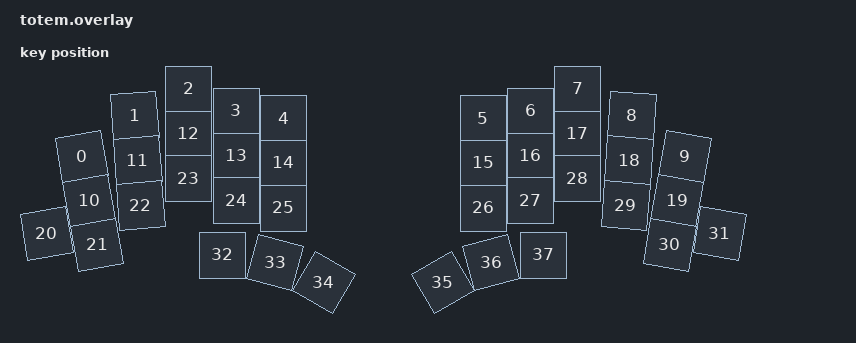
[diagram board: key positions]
/*
 * config/totem.overlay
 *
 * Shared (unsuffixed) user overlay -> ZMK applies this automatically to
 * ALL THREE shield builds (totem_dongle, totem_left, totem_right), exactly
 * like the shared config/totem.keymap already does.
 *
 * WHY THIS FILE EXISTS
 * ---------------------
 * The "totem" shield comes from the ghyatzo/zmk-totem-module (see
 * config/west.yml). That module's totem.dtsi already defines a physical
 * layout with Studio-required `keys` (x/y/rotation) attributes, so
 * ZMK Studio was NOT missing key positions -- it already had *some*.
 *
 * What it had, though, was ghyatzo's own key geometry. You asked for the
 * geometry from cvaldezcomputerer/zmk-config's totem-layouts.dtsi instead.
 * This file adds a SECOND physical layout using that geometry, and makes
 * it the default -- without touching the module's kscan, matrix transform,
 * or your keymap bindings, all of which stay exactly as they are.
 *
 * IMPORTANT DETAIL: cvaldez's totem-layouts.dtsi lists its 38 keys in a
 * different order than ghyatzo's totem.dtsi matrix transform does (the two
 * "extra" pinky keys -- matrix positions RC(3,0) and RC(3,9) -- sit in
 * different spots in the two files' own orderings). The `keys` array below
 * is NOT a copy-paste of cvaldez's file: each entry has been re-ordered by
 * matrix position (RC(row,col)) so it lines up 1:1 with *this* build's
 * transform/keymap. Copying cvaldez's array as-is would have silently
 * shown the thumb keys and the two outer pinky keys in the wrong spots in
 * Studio's picture of the board.
 *
 * The module's original "default_layout" is untouched and still compiles
 * in as a second, selectable layout in Studio's physical layout picker --
 * it's simply no longer the default. There's no position map between the
 * two (their key widths differ slightly, 100 vs 105), so if you ever
 * switch to it inside Studio, a few key assignments may not carry over
 * automatically. You shouldn't need to; this file makes the cvaldez
 * geometry the one that's active out of the box.
 */

#include <physical_layouts.dtsi>

/ {
    cvaldez_layout: cvaldez_layout {
        compatible = "zmk,physical-layout";
        display-name = "TOTEM";
        transform = <&default_transform>; // unchanged, defined in the ghyatzo module's totem.dtsi
        kscan     = <&kscan0>;             // unchanged, defined in the ghyatzo module's totem.dtsi

        keys  //                     w   h    x    y     rot    rx    ry
            = <&key_physical_attrs 100 100    70   136 (-1000)   120   186>
            , <&key_physical_attrs 100 100   176    54 (-400)   226   104>
            , <&key_physical_attrs 100 100   284     0      0     0     0>
            , <&key_physical_attrs 100 100   379    44      0     0     0>
            , <&key_physical_attrs 100 100   474    59      0     0     0>
            , <&key_physical_attrs 100 100   873    59      0     0     0>
            , <&key_physical_attrs 100 100   968    44      0     0     0>
            , <&key_physical_attrs 100 100  1062     0      0     0     0>
            , <&key_physical_attrs 100 100  1171    54    400  1221   104>
            , <&key_physical_attrs 100 100  1277   136   1000  1327   186>
            , <&key_physical_attrs 100 100    85   224 (-1000)   135   274>
            , <&key_physical_attrs 100 100   182   143 (-400)   232   193>
            , <&key_physical_attrs 100 100   284    90      0     0     0>
            , <&key_physical_attrs 100 100   379   134      0     0     0>
            , <&key_physical_attrs 100 100   474   148      0     0     0>
            , <&key_physical_attrs 100 100   873   148      0     0     0>
            , <&key_physical_attrs 100 100   968   134      0     0     0>
            , <&key_physical_attrs 100 100  1062    90      0     0     0>
            , <&key_physical_attrs 100 100  1165   143    400  1215   193>
            , <&key_physical_attrs 100 100  1261   224   1000  1311   274>
            , <&key_physical_attrs 100 100     0   289 (-1000)    50   339>
            , <&key_physical_attrs 100 100   101   312 (-1000)   151   362>
            , <&key_physical_attrs 100 100   188   233 (-400)   238   283>
            , <&key_physical_attrs 100 100   284   179      0     0     0>
            , <&key_physical_attrs 100 100   379   223      0     0     0>
            , <&key_physical_attrs 100 100   474   238      0     0     0>
            , <&key_physical_attrs 100 100   873   238      0     0     0>
            , <&key_physical_attrs 100 100   968   223      0     0     0>
            , <&key_physical_attrs 100 100  1062   179      0     0     0>
            , <&key_physical_attrs 100 100  1158   233    400  1208   283>
            , <&key_physical_attrs 100 100  1246   312   1000  1296   362>
            , <&key_physical_attrs 100 100  1346   289   1000  1396   339>
            , <&key_physical_attrs 100 100   352   332      0     0     0>
            , <&key_physical_attrs 100 100   457   347   1500   507   397>
            , <&key_physical_attrs 100 100   554   387   3000   604   437>
            , <&key_physical_attrs 100 100   792   387 (-3000)   842   437>
            , <&key_physical_attrs 100 100   889   347 (-1500)   939   397>
            , <&key_physical_attrs 100 100   994   332      0     0     0>
            ;
    };

    chosen {
        zmk,physical-layout = &cvaldez_layout;
    };
};

